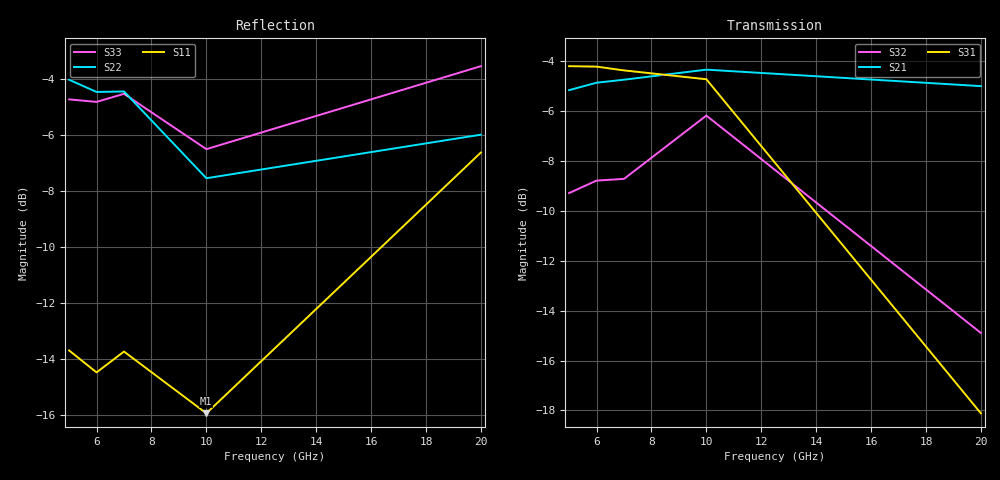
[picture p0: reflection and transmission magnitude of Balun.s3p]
!Mini-Circuits Lab.;
!S-parameters;
!Model:MTX2-143+, Unit1_TB-900+;
!Run:QM1710005; Date Code:1710;
!Test Board:TB-900+; SN N/A; Temperature: 25°C;
!Connection: PRIMARY DOT (port1) to pin2, SECONDARY (port2) to pin9, SECONDARY DOT (Port3) to pin7;
!Tested with PNA Network Analyzer N5230A, S/N67766,Cal.Due:03/16/2019.
# MHZ S DB R 50
!Frequency  S11 dB  S11 DEG  S12 dB  S12 DEG  S13 dB  S13 DEG
!  S21 dB  S21 DEG  S22 dB  S22 DEG  S23 dB  S23 DEG
!  S31 dB  S31 DEG  S32 dB  S32 DEG  S33 dB  S33 DEG
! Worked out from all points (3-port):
!   5 points, 5 GHz to 20 GHz, reference 50 ohm
!   strongest paths, dB at 5 GHz, 6 GHz, 7 GHz, 10 GHz, 20 GHz:
!     S31: -4.2, -4.2, -4.4, -4.7, -18.1
!     S21: -5.2, -4.9, -4.7, -4.3, -5.0
!     S32: -9.3, -8.8, -8.7, -6.2, -14.9
!   lowest |S11| = -15.9 dB at 10 GHz (marker M1), VSWR 1.38, Z = 46.8 + j15.3 ohm
!   |S11| at or under -10 dB: start of sweep to 16.37 GHz
5000  -13.68 81.4  -5.16 129.9  -4.19 -47.0
      -5.16 129.8  -4.03 12.4  -9.28 39.6
      -4.20 -46.9  -9.28 39.8  -4.73 19.6
6000  -14.47 28.0  -4.87 96.3  -4.23 -78.6
      -4.86 96.3  -4.47 -9.9  -8.78 16.5
      -4.22 -78.4  -8.78 16.7  -4.82 0.5
7000  -13.72 -8.2  -4.75 67.7  -4.36 -106.0
      -4.74 67.7  -4.45 -28.0  -8.69 -0.6
      -4.37 -105.8  -8.72 -0.5  -4.53 -16.0
10000  -15.92 92.8  -4.35 -11.9  -4.74 175.2
       -4.34 -11.9  -7.54 -39.9  -6.19 -52.0
       -4.72 175.3  -6.18 -51.9  -6.51 -32.4
20000  -6.63 123.1  -5.00 162.0  -18.14 -13.4
       -5.00 162.0  -5.99 33.3  -14.94 26.4
       -18.11 -13.2  -14.89 26.7  -3.55 79.8
